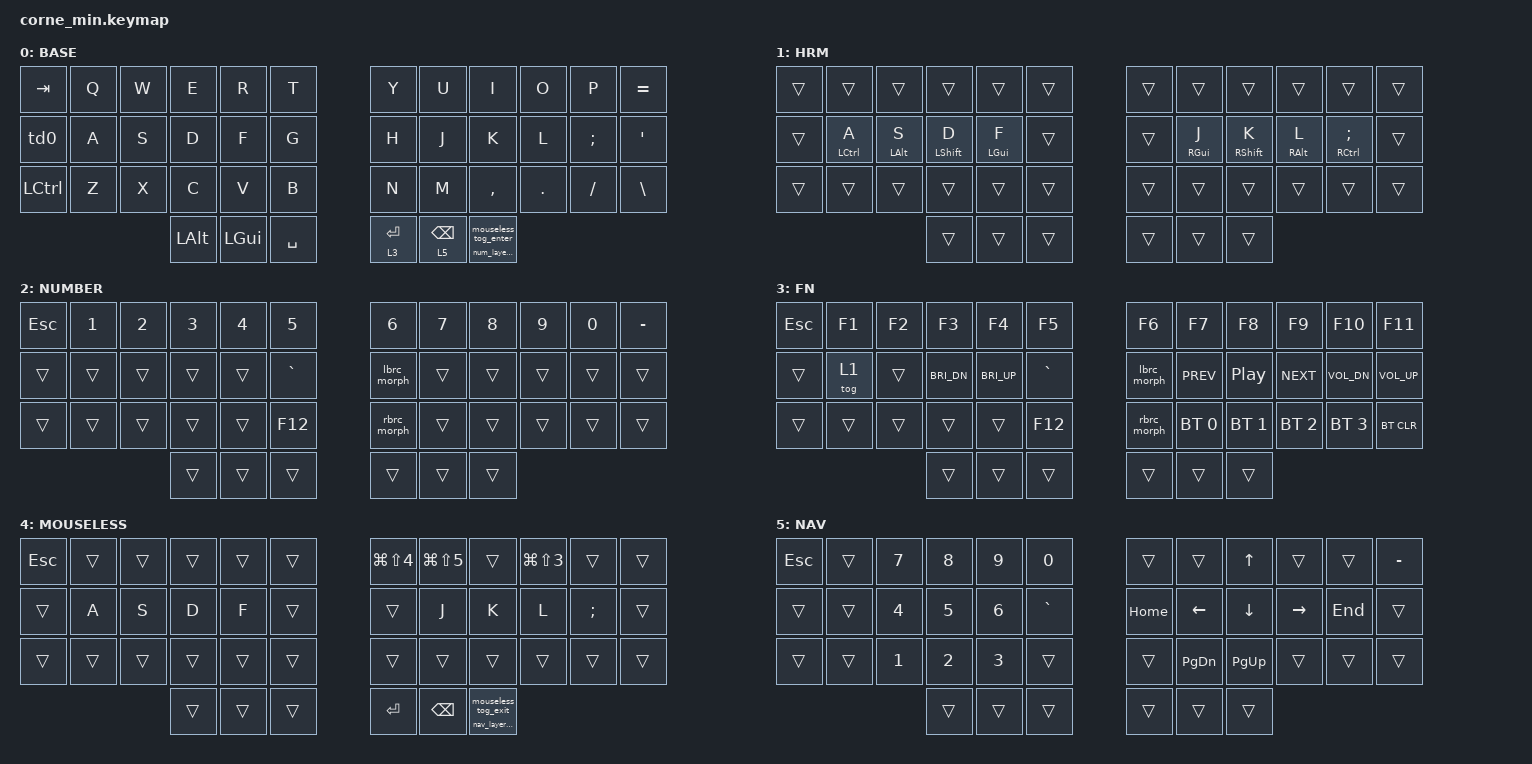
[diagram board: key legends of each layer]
#include <behaviors.dtsi>
#include <dt-bindings/zmk/bt.h>
#include <dt-bindings/zmk/keys.h>

/ {
    behaviors {
        td0: td0 {
            compatible = "zmk,behavior-tap-dance";
            display-name = "Shift/Caps Lock Tap Dance";
            #binding-cells = <0>;
            bindings = <&kp LEFT_SHIFT>, <&kp CAPS>;
        };

        lyr_tap: lyr_tap {
            compatible = "zmk,behavior-hold-tap";
            display-name = "Layer Hold / Key Tap";
            #binding-cells = <2>;
            flavor = "balanced";
            tapping-term-ms = <200>;
            quick-tap-ms = <250>;
            bindings = <&mo>, <&kp>;
        };

        lbrc_morph: lbrc_morph {
            compatible = "zmk,behavior-mod-morph";
            #binding-cells = <0>;
            bindings = <&kp LBRC>, <&kp LBKT>;
            mods = <(MOD_LSFT|MOD_RSFT)>;
        };

        rbrc_morph: rbrc_morph {
            compatible = "zmk,behavior-mod-morph";
            #binding-cells = <0>;
            bindings = <&kp RBRC>, <&kp RBKT>;
            mods = <(MOD_LSFT|MOD_RSFT)>;
        };

        hml: home_row_mod_left {
            compatible = "zmk,behavior-hold-tap";
            #binding-cells = <2>;
            flavor = "balanced";
            tapping-term-ms = <280>;
            quick-tap-ms = <175>;
            require-prior-idle-ms = <150>;
            bindings = <&kp>, <&kp>;
            hold-trigger-key-positions = <6 7 8 9 10 11 18 19 20 21 22 23 30 31 32 33 34 35 39 40 41>;
            hold-trigger-on-release;
        };

        hmr: home_row_mod_right {
            compatible = "zmk,behavior-hold-tap";
            #binding-cells = <2>;
            flavor = "balanced";
            tapping-term-ms = <280>;
            quick-tap-ms = <175>;
            require-prior-idle-ms = <150>;
            bindings = <&kp>, <&kp>;
            hold-trigger-key-positions = <0 1 2 3 4 5 12 13 14 15 16 17 24 25 26 27 28 29 36 37 38>;
            hold-trigger-on-release;
        };

        mouse_lt_enter: mouse_lt_enter {
            compatible = "zmk,behavior-hold-tap";
            #binding-cells = <2>;
            flavor = "balanced";
            tapping-term-ms = <200>;
            bindings = <&num_layer_hold>, <&mouseless_tog_enter>;
        };

        mouse_lt_exit: mouse_lt_exit {
            compatible = "zmk,behavior-hold-tap";
            #binding-cells = <2>;
            flavor = "balanced";
            tapping-term-ms = <200>;
            bindings = <&nav_layer_hold>, <&mouseless_tog_exit>;
        };
    };

    macros {
        compatible = "zmk,macros";

        num_layer_hold: num_layer_hold {
            compatible = "zmk,behavior-macro";
            #binding-cells = <0>;
            wait-ms = <0>;
            tap-ms = <0>;
            bindings
                = <&macro_press &mo 2>
                , <&macro_pause_for_release>
                , <&macro_release &mo 2>;
        };

        nav_layer_hold: nav_layer_hold {
            compatible = "zmk,behavior-macro";
            #binding-cells = <0>;
            wait-ms = <0>;
            tap-ms = <0>;
            bindings
                = <&macro_press &mo 5>
                , <&macro_pause_for_release>
                , <&macro_release &mo 5>;
        };

        mouseless_tog_enter: mouseless_tog_enter {
            compatible = "zmk,behavior-macro";
            #binding-cells = <0>;
            wait-ms = <0>;
            tap-ms = <0>;
            bindings
                = <&tog 4>
                , <&kp RALT>;
        };

        mouseless_tog_exit: mouseless_tog_exit {
            compatible = "zmk,behavior-macro";
            #binding-cells = <0>;
            wait-ms = <0>;
            tap-ms = <0>;
            bindings
                = <&tog 4>
                , <&kp RALT>;
        };
    };

    keymap {
        compatible = "zmk,keymap";

        default_layer {
            display-name = "BASE";
            bindings = <
&kp TAB    &kp Q          &kp W        &kp E          &kp R       &kp T        &kp Y        &kp U        &kp I      &kp O         &kp P          &kp EQUAL
&td0       &kp A          &kp S        &kp D          &kp F       &kp G        &kp H        &kp J        &kp K      &kp L         &kp SEMI       &kp SQT
&kp LCTRL  &kp Z          &kp X        &kp C          &kp V       &kp B        &kp N        &kp M        &kp COMMA  &kp DOT       &kp FSLH       &kp BSLH
                              &kp LALT  &kp LGUI       &kp SPACE   &lyr_tap 3 ENTER  &lyr_tap 5 BSPC  &mouse_lt_enter 0 0
            >;
        };

        // Home-row mods: off at power-on, turned on by &tog 1 on FN. Sits just above BASE
        // so every other layer still wins. Toggling it blinks the status LED once: yellow
        // on, magenta off (config/src/hrm_led.c).
        hrm_layer {
            display-name = "HRM";
            bindings = <
&trans  &trans        &trans       &trans        &trans       &trans    &trans  &trans       &trans        &trans       &trans           &trans
&trans  &hml LCTRL A  &hml LALT S  &hml LSHFT D  &hml LGUI F  &trans    &trans  &hmr RGUI J  &hmr RSHFT K  &hmr RALT L  &hmr RCTRL SEMI  &trans
&trans  &trans  &trans  &trans  &trans  &trans    &trans  &trans  &trans  &trans  &trans    &trans
                        &trans  &trans  &trans    &trans  &trans  &trans
            >;
        };

        number_layer {
            display-name = "NUMBER";
            bindings = <
&kp ESC  &kp N1  &kp N2  &kp N3  &kp N4  &kp N5     &kp N6       &kp N7  &kp N8  &kp N9  &kp N0  &kp MINUS
&trans   &trans  &trans  &trans  &trans  &kp GRAVE  &lbrc_morph  &trans  &trans  &trans  &trans  &trans
&trans   &trans  &trans  &trans  &trans  &kp F12    &rbrc_morph  &trans  &trans  &trans  &trans  &trans
                       &trans  &trans  &trans          &trans  &trans  &trans
            >;
        };

        fn_layer {
            display-name = "FN";
            bindings = <
&kp ESC  &kp F1  &kp F2  &kp F3  &kp F4  &kp F5     &kp F6       &kp F7        &kp F8        &kp F9        &kp F10       &kp F11
&trans   &tog 1  &trans  &kp C_BRI_DN  &kp C_BRI_UP  &kp GRAVE  &lbrc_morph  &kp C_PREV  &kp C_PP  &kp C_NEXT  &kp C_VOL_DN  &kp C_VOL_UP
&trans   &trans  &trans  &trans  &trans  &kp F12    &rbrc_morph  &bt BT_SEL 0  &bt BT_SEL 1  &bt BT_SEL 2  &bt BT_SEL 3  &bt BT_CLR
                       &trans  &trans  &trans          &trans  &trans  &trans
            >;
        };

        mouseless_layer {
            display-name = "MOUSELESS";
            bindings = <
&kp ESC  &trans  &trans  &trans  &trans  &trans    &kp LG(LS(N4))  &kp LG(LS(N5))  &trans  &kp LG(LS(N3))  &trans    &trans
&trans   &kp A   &kp S   &kp D   &kp F   &trans    &trans          &kp J           &kp K   &kp L           &kp SEMI  &trans
&trans   &trans  &trans  &trans  &trans  &trans    &trans          &trans          &trans  &trans          &trans    &trans
                       &trans  &trans  &trans        &kp ENTER  &kp BSPC  &mouse_lt_exit 0 0
            >;
        };

        nav_layer {
            display-name = "NAV";
            bindings = <
&kp ESC  &trans  &kp N7  &kp N8  &kp N9  &kp N0     &trans    &trans     &kp UP     &trans     &trans   &kp MINUS
&trans   &trans  &kp N4  &kp N5  &kp N6  &kp GRAVE  &kp HOME  &kp LEFT   &kp DOWN   &kp RIGHT  &kp END  &trans
&trans   &trans  &kp N1  &kp N2  &kp N3  &trans     &trans    &kp PG_DN  &kp PG_UP  &trans     &trans   &trans
                       &trans  &trans  &trans        &trans  &trans  &trans
            >;
        };
    };
};
